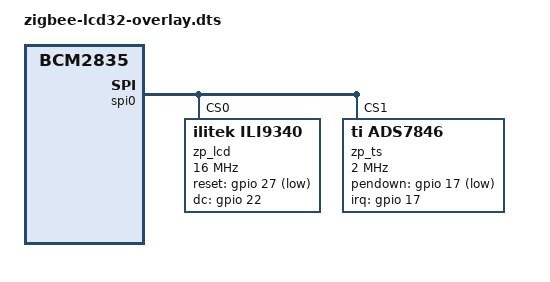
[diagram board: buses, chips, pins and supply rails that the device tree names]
/*
 * Overlay για την LCDwiki 3.2" RPi Display (MPI3201): ILI9341 (fbtft) + XPT2046/ADS7846 αφή.
 * Ίδια pins και ρυθμίσεις με το tft9341 της LCDwiki (DC=GPIO22, RESET=GPIO27, PENIRQ=GPIO17),
 * με μεγαλύτερο ti,pressure-max: με το 255 του αρχικού, ο driver πετούσε τα πατήματα
 * στη μία πλευρά της οθόνης.
 *
 * config.txt:  dtoverlay=zigbee-lcd32,rotate=270
 * Παράμετροι:  rotate, speed, fps, pmax (όριο πίεσης), xohms, swapxy
 */
/dts-v1/;
/plugin/;

/ {
	compatible = "brcm,bcm2835";

	fragment@0 {
		target = <&spi0>;
		__overlay__ {
			status = "okay";
		};
	};

	fragment@1 {
		target = <&spidev0>;
		__overlay__ {
			status = "disabled";
		};
	};

	fragment@2 {
		target = <&spidev1>;
		__overlay__ {
			status = "disabled";
		};
	};

	fragment@3 {
		target = <&gpio>;
		__overlay__ {
			zp_lcd_pins: zp_lcd_pins {
				brcm,pins = <17 27 22>;
				brcm,function = <0 0 0>;
			};
		};
	};

	fragment@4 {
		target = <&spi0>;
		__overlay__ {
			#address-cells = <1>;
			#size-cells = <0>;

			zp_lcd: tft9341@0 {
				compatible = "ilitek,ili9340";
				reg = <0>;
				pinctrl-names = "default";
				pinctrl-0 = <&zp_lcd_pins>;
				spi-max-frequency = <16000000>;
				txbuflen = <32768>;
				rotate = <270>;
				fps = <25>;
				bgr = <0>;
				buswidth = <8>;
				reset-gpios = <&gpio 27 1>;
				dc-gpios = <&gpio 22 0>;
				debug = <0>;
			};

			zp_ts: tft9341-ts@1 {
				compatible = "ti,ads7846";
				reg = <1>;
				spi-max-frequency = <2000000>;
				interrupts = <17 2>;
				interrupt-parent = <&gpio>;
				pendown-gpio = <&gpio 17 1>;
				ti,x-plate-ohms = /bits/ 16 <60>;
				ti,pressure-max = /bits/ 16 <4095>;
			};
		};
	};

	__overrides__ {
		rotate = <&zp_lcd>, "rotate:0";
		speed  = <&zp_lcd>, "spi-max-frequency:0";
		fps    = <&zp_lcd>, "fps:0";
		pmax   = <&zp_ts>, "ti,pressure-max;0";
		xohms  = <&zp_ts>, "ti,x-plate-ohms;0";
		swapxy = <&zp_ts>, "ti,swap-xy?";
	};
};
